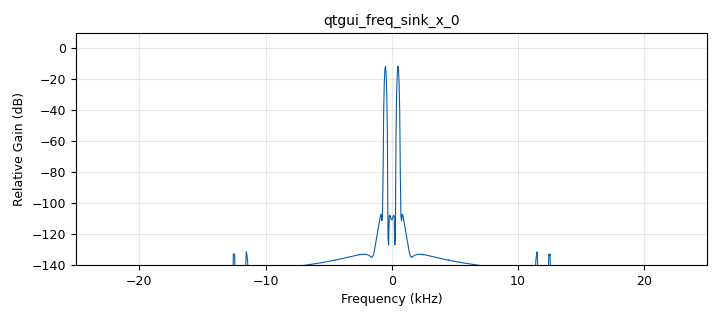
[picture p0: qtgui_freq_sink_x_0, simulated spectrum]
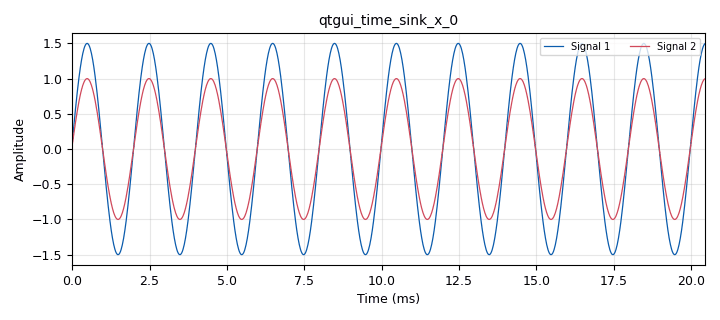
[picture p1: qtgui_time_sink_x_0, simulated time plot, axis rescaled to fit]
options:
  parameters:
    generate_options: qt_gui
    id: sine_test
    output_language: python
    title: Two sines different phases
  states: {}

blocks:
- name: freq
  id: variable
  parameters:
    value: '500'
  states: {}
- name: samp_rate
  id: variable
  parameters:
    value: '50000'
  states: {}
- name: shift_slider
  id: variable_qtgui_range
  parameters:
    orient: Qt.Horizontal
    start: '0'
    step: '0.1'
    stop: 2* math.pi
    value: '0'
    widget: slider
  states: {}
- name: analog_sig_source_x_0
  id: analog_sig_source_x
  parameters:
    amp: '1'
    freq: freq
    offset: '0'
    phase: '0'
    samp_rate: samp_rate
    type: complex
    waveform: analog.GR_COS_WAVE
  states: {}
- name: analog_sig_source_x_1
  id: analog_sig_source_x
  parameters:
    amp: '0.5'
    freq: 'freq '
    offset: '0'
    phase: '0'
    samp_rate: samp_rate
    type: float
    waveform: analog.GR_COS_WAVE
  states: {}
- name: blocks_add_xx_0
  id: blocks_add_xx
  parameters:
    type: float
  states: {}
- name: blocks_and_xx_0
  id: blocks_and_xx
  parameters:
    type: int
  states: {state: disabled}
- name: blocks_complex_to_float_0
  id: blocks_complex_to_float
  parameters: {}
  states: {}
- name: blocks_multiply_const_vxx_0
  id: blocks_multiply_const_vxx
  parameters:
    const: complex(math.cos(shift_slider),math.sin(shift_slider))
    type: complex
  states: {}
- name: blocks_throttle_0
  id: blocks_throttle
  parameters:
    samples_per_second: samp_rate
    type: complex
  states: {}
- name: blocks_throttle_0_0
  id: blocks_throttle
  parameters:
    samples_per_second: samp_rate
    type: float
  states: {}
- name: blocks_uchar_to_float_0
  id: blocks_uchar_to_float
  parameters: {}
  states: {state: disabled}
- name: digital_binary_slicer_fb_0
  id: digital_binary_slicer_fb
  parameters: {}
  states: {state: disabled}
- name: epy_module_0
  id: epy_module
  parameters:
    source_code: '# this module will be imported in the into your flowgraph'
  states: {state: disabled}
- name: import_0
  id: import
  parameters:
    imports: import math
  states: {}
- name: qtgui_freq_sink_x_0
  id: qtgui_freq_sink_x
  parameters:
    bw: samp_rate
    fc: '0'
    fftsize: '1024'
    type: float
    wintype: firdes.WIN_BLACKMAN_hARRIS
  states: {}
- name: qtgui_time_sink_x_0
  id: qtgui_time_sink_x
  parameters:
    ctrlpanel: 'True'
    nconnections: '2'
    size: '1024'
    srate: samp_rate
    tr_chan: '1'
    type: float
  states: {}
- name: qtgui_time_sink_x_0_0
  id: qtgui_time_sink_x
  parameters:
    ctrlpanel: 'True'
    entags: 'False'
    label1: FM Audio
    label2: Clock
    nconnections: '2'
    size: '1024'
    srate: samp_rate
    style2: '4'
    type: float
  states: {state: disabled}

connections:
- [analog_sig_source_x_0, '0', blocks_throttle_0, '0']
- [analog_sig_source_x_1, '0', blocks_throttle_0_0, '0']
- [blocks_add_xx_0, '0', qtgui_freq_sink_x_0, '0']
- [blocks_add_xx_0, '0', qtgui_time_sink_x_0, '0']
- [blocks_complex_to_float_0, '0', blocks_add_xx_0, '0']
- [blocks_complex_to_float_0, '0', qtgui_time_sink_x_0, '1']
- [blocks_complex_to_float_0, '0', qtgui_time_sink_x_0_0, '0']
- [blocks_multiply_const_vxx_0, '0', blocks_complex_to_float_0, '0']
- [blocks_throttle_0, '0', blocks_multiply_const_vxx_0, '0']
- [blocks_throttle_0_0, '0', blocks_add_xx_0, '1']
- [blocks_throttle_0_0, '0', qtgui_time_sink_x_0_0, '1']

metadata:
  file_format: 1
